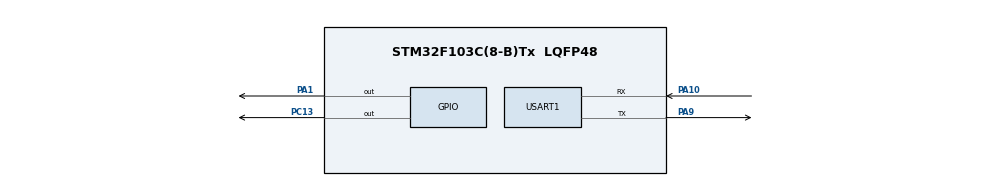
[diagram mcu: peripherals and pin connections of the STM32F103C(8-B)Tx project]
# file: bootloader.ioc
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Mcu.Family=STM32F1
Mcu.Name=STM32F103C(8-B)Tx
Mcu.Package=LQFP48
NVIC.PriorityGroup=NVIC_PRIORITYGROUP_4
NVIC.USART1_IRQn=true\:1\:0\:true\:false\:true\:true\:true\:true
PA1.Signal=GPIO_Output
PA10.Mode=Asynchronous
PA10.Signal=USART1_RX
PA13.Mode=Serial_Wire
PA13.Signal=SYS_JTMS-SWDIO
PA14.Mode=Serial_Wire
PA14.Signal=SYS_JTCK-SWCLK
PA9.Mode=Asynchronous
PA9.Signal=USART1_TX
PC13-TAMPER-RTC.Signal=GPIO_Output
ProjectManager.HeapSize=0x200
ProjectManager.StackSize=0x400
ProjectManager.TargetToolchain=STM32CubeIDE
RCC.APB1Freq_Value=8000000
RCC.APB2Freq_Value=8000000
USART1.VirtualMode=VM_ASYNC
VP_CRC_VS_CRC.Mode=CRC_Activate
board=custom

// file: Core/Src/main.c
/* USER CODE BEGIN Header */
/**
  ******************************************************************************
  * @file           : main.c
  * @brief          : Main program body
  ******************************************************************************
  * @attention
  *
  * Copyright (c) 2026 STMicroelectronics.
  * All rights reserved.
  *
  * This software is licensed under terms that can be found in the LICENSE file
  * in the root directory of this software component.
  * If no LICENSE file comes with this software, it is provided AS-IS.
  *
  ******************************************************************************
  */
/* USER CODE END Header */
#include "main.h"
#include "crc.h"
#include "usart.h"
#include "gpio.h"

/* USER CODE BEGIN Includes */
#include "bl_jump.h"
#include "app_ota.h"

/* USER CODE END Includes */

void SystemClock_Config(void);

int main(void)
{

  /* MCU Configuration--------------------------------------------------------*/

  /* Reset of all peripherals, Initializes the Flash interface and the Systick. */
  HAL_Init();

  /* Configure the system clock */
  SystemClock_Config();

  /* Initialize all configured peripherals */
  MX_GPIO_Init();
  MX_USART1_UART_Init();
  if (read_byte() != HAL_OK)
  {
    Error_Handler();
  }
  MX_CRC_Init();
  /* USER CODE BEGIN 2 */
  __HAL_RCC_PWR_CLK_ENABLE();
  __HAL_RCC_BKP_CLK_ENABLE();
  HAL_PWR_EnableBkUpAccess();
  int stay = (BKP->DR1 == BL_FLAG);
  if (stay) BKP->DR1 = 0;
  HAL_Delay(100);

  /* USER CODE END 2 */

  /* Infinite loop */
  /* USER CODE BEGIN WHILE */
  uint32_t t0 = HAL_GetTick(), tb = t0, tm = t0; int checked = 0;
  while (1)
  {
    /* USER CODE END WHILE */

    /* USER CODE BEGIN 3 */
      uint8_t b;
       if (rx_byte_timeout(&b, 5) && b == SYNC) { send_byte(ACK); loader(); }
       if (!stay && !checked && HAL_GetTick() - t0 > BOOT_WAIT_MS) {
           checked = 1;
           if (bootloader_is_app_valid() == 0) {   /* 0 = hop le (xem app_image.c) */
               JumptoApplication();
           }
       }
       if ((checked || stay) && HAL_GetTick() - tb > 80) {
    	   tb = HAL_GetTick();
    	   HAL_GPIO_TogglePin(GPIOC, GPIO_PIN_13);
       } /* nhay rat nhanh = khong co app hop le */

       if (HAL_GetTick() - tm > 250) {
    	   tm = HAL_GetTick();
    	   HAL_GPIO_TogglePin(GPIOA, GPIO_PIN_1);
       }   /* LED_MODE: con dang o bootloader */
  }
  /* USER CODE END 3 */
}

void SystemClock_Config(void)
{
  RCC_OscInitTypeDef RCC_OscInitStruct = {0};
  RCC_ClkInitTypeDef RCC_ClkInitStruct = {0};

  /** Initializes the RCC Oscillators according to the specified parameters
  * in the RCC_OscInitTypeDef structure.
  */
  RCC_OscInitStruct.OscillatorType = RCC_OSCILLATORTYPE_HSI;
  RCC_OscInitStruct.HSIState = RCC_HSI_ON;
  RCC_OscInitStruct.HSICalibrationValue = RCC_HSICALIBRATION_DEFAULT;
  RCC_OscInitStruct.PLL.PLLState = RCC_PLL_NONE;
  if (HAL_RCC_OscConfig(&RCC_OscInitStruct) != HAL_OK)
  {
    Error_Handler();
  }

  /** Initializes the CPU, AHB and APB buses clocks
  */
  RCC_ClkInitStruct.ClockType = RCC_CLOCKTYPE_HCLK|RCC_CLOCKTYPE_SYSCLK
                              |RCC_CLOCKTYPE_PCLK1|RCC_CLOCKTYPE_PCLK2;
  RCC_ClkInitStruct.SYSCLKSource = RCC_SYSCLKSOURCE_HSI;
  RCC_ClkInitStruct.AHBCLKDivider = RCC_SYSCLK_DIV1;
  RCC_ClkInitStruct.APB1CLKDivider = RCC_HCLK_DIV1;
  RCC_ClkInitStruct.APB2CLKDivider = RCC_HCLK_DIV1;

  if (HAL_RCC_ClockConfig(&RCC_ClkInitStruct, FLASH_LATENCY_0) != HAL_OK)
  {
    Error_Handler();
  }
}

void Error_Handler(void)
{
  __disable_irq();
  while (1)
  {
  }
}
